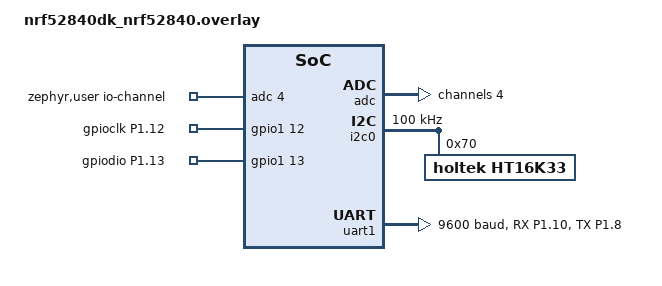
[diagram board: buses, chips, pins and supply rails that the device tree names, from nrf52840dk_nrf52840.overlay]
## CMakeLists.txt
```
cmake_minimum_required(VERSION 3.20.0)
find_package(Zephyr REQUIRED HINTS $ENV{ZEPHYR_BASE})

project(CO2_Watchdog)

FILE(GLOB app_sources src/*.c)
target_sources(app PRIVATE ${app_sources})

zephyr_library_include_directories(.)
```

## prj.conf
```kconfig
CONFIG_LOG=y
CONFIG_I2C=y
CONFIG_LED=y
CONFIG_KSCAN_INIT_PRIORITY=95
CONFIG_UART_INTERRUPT_DRIVEN=y
CONFIG_UART_ASYNC_API=y
CONFIG_KSCAN=y
CONFIG_HT16K33_KEYSCAN=y
CONFIG_NCS_SAMPLES_DEFAULTS=y
CONFIG_BT=y
CONFIG_BT_PERIPHERAL=y
CONFIG_BT_DEVICE_NAME="CO2_Watchdog"
CONFIG_BT_LBS=y
CONFIG_BT_LBS_POLL_BUTTON=y
CONFIG_DK_LIBRARY=y
CONFIG_BT_GATT_DYNAMIC_DB=y
CONFIG_PRINTK=y
CONFIG_ADC=y
CONFIG_ADC_ASYNC=y
CONFIG_ADC_NRFX_SAADC=y
```

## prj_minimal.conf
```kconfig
# BEGIN Configurations from basic/minimal

CONFIG_NCS_SAMPLES_DEFAULTS=y

CONFIG_BT=y
CONFIG_BT_PERIPHERAL=y
CONFIG_BT_DEVICE_NAME="CO2_Watchdog"

# Enable the LBS service
CONFIG_BT_LBS=y
CONFIG_BT_LBS_POLL_BUTTON=y
CONFIG_DK_LIBRARY=y

# Drivers and peripherals
CONFIG_I2C=n
CONFIG_WATCHDOG=n
CONFIG_GPIO=n
CONFIG_SPI=n
CONFIG_SERIAL=n

# Power management

# Interrupts
CONFIG_DYNAMIC_INTERRUPTS=n
CONFIG_IRQ_OFFLOAD=n

# Memory protection
CONFIG_THREAD_STACK_INFO=n
CONFIG_THREAD_CUSTOM_DATA=n
CONFIG_FPU=n

# Boot
CONFIG_BOOT_BANNER=n
CONFIG_BOOT_DELAY=0

# Console
CONFIG_CONSOLE=n
CONFIG_UART_CONSOLE=n
CONFIG_STDOUT_CONSOLE=n
CONFIG_PRINTK=n
CONFIG_EARLY_CONSOLE=n

# Build
CONFIG_SIZE_OPTIMIZATIONS=y

# ARM
CONFIG_ARM_MPU=n
# END Configurations from basic/minimal

# In order to correctly tune the stack sizes for the threads the following
# Configurations can enabled to print the current use:
# CONFIG_THREAD_NAME=y
# CONFIG_THREAD_ANALYZER=y
# CONFIG_THREAD_ANALYZER_AUTO=y
# CONFIG_THREAD_ANALYZER_RUN_UNLOCKED=y
# CONFIG_THREAD_ANALYZER_USE_PRINTK=y
# CONFIG_CONSOLE=y
# CONFIG_UART_CONSOLE=y
# CONFIG_SERIAL=y
# CONFIG_PRINTK=y

# Example output of thread analyzer
# SDC RX              : unused 816 usage 208 / 1024 (20 %)
# BT RX               : unused 1784 usage 416 / 2200 (18 %)
# BT TX               : unused 992 usage 544 / 1536 (35 %)
# thread_analyzer     : unused 136 usage 376 / 512 (73 %)
# sysworkq            : unused 1824 usage 224 / 2048 (10 %)
# MPSL signal         : unused 520 usage 504 / 1024 (49 %)
# idle 00             : unused 192 usage 64 / 256 (25 %)
# main                : unused 136 usage 888 / 1024 (86 %)
# Configurations set based on thread analyzer output.
CONFIG_BT_RX_STACK_SIZE=1024
CONFIG_BT_HCI_TX_STACK_SIZE_WITH_PROMPT=y
CONFIG_BT_HCI_TX_STACK_SIZE=640
CONFIG_SYSTEM_WORKQUEUE_STACK_SIZE=512
CONFIG_MPSL_WORK_STACK_SIZE=640
CONFIG_MAIN_STACK_SIZE=1024
CONFIG_IDLE_STACK_SIZE=128
CONFIG_ISR_STACK_SIZE=1024

# Disable features not needed
CONFIG_TIMESLICING=n
CONFIG_MINIMAL_LIBC_MALLOC=n
CONFIG_LOG=n
CONFIG_ASSERT=n

# Disable Bluetooth features not needed
CONFIG_BT_DEBUG_NONE=y
CONFIG_BT_ASSERT=n
CONFIG_BT_DATA_LEN_UPDATE=n
CONFIG_BT_PHY_UPDATE=n
CONFIG_BT_GATT_CACHING=n
CONFIG_BT_GATT_SERVICE_CHANGED=n
CONFIG_BT_GAP_PERIPHERAL_PREF_PARAMS=n
CONFIG_BT_SETTINGS_CCC_LAZY_LOADING=y
CONFIG_BT_HCI_VS_EXT=n

# Disable Bluetooth controller features not needed
CONFIG_BT_CTLR_PRIVACY=n
CONFIG_BT_CTLR_PHY_2M=n

# Reduce Bluetooth buffers
CONFIG_BT_BUF_EVT_DISCARDABLE_COUNT=1
CONFIG_BT_BUF_EVT_DISCARDABLE_SIZE=43
CONFIG_BT_BUF_EVT_RX_COUNT=2

CONFIG_BT_CONN_TX_MAX=2
CONFIG_BT_L2CAP_TX_BUF_COUNT=2
CONFIG_BT_CTLR_RX_BUFFERS=1
CONFIG_BT_BUF_ACL_TX_COUNT=3
CONFIG_BT_BUF_ACL_TX_SIZE=27
```

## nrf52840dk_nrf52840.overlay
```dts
// To get started, press Ctrl+Space to bring up the completion menu and view the available nodes.

// You can also use the buttons in the sidebar to perform actions on nodes.
// Actions currently available include:

// * Enabling / disabling the node
// * Adding the bus to a bus
// * Removing the node
// * Connecting ADC channels

// For more help, browse the DeviceTree documentation at https://docs.zephyrproject.org/latest/guides/dts/index.html
// You can also visit the nRF DeviceTree extension documentation at https://nrfconnect.github.io/vscode-nrf-connect/devicetree/nrfdevicetree.html

/ {
	zephyr,user {
        io-channels = <&adc 4>;
	};
};

&adc {
	#address-cells = <1>;
	#size-cells = <0>;

	channel@4 {
		reg = <4>;
		zephyr,gain = "ADC_GAIN_1";
		zephyr,reference = "ADC_REF_INTERNAL";
		zephyr,acquisition-time = <ADC_ACQ_TIME_DEFAULT>;
		zephyr,input-positive = <NRF_SAADC_AIN4>; /* P0.28 */
		zephyr,resolution = <10>;
	};
};

&i2c0 {
	clock-frequency = <I2C_BITRATE_STANDARD>;

	ht16k33@70 {
		compatible = "holtek,ht16k33";
		reg = <0x70>;
                /* Uncomment to use IRQ instead of polling: */
		/* irq-gpios = <&gpio1 8 (GPIO_PULL_UP | GPIO_ACTIVE_LOW)>; */

		keyscan {
			compatible = "holtek,ht16k33-keyscan";
		};
	};
};

/ {
    aliases {
        myserial = &uart1;
    };
};

&uart1 {
    status = "okay";
    compatible = "nordic,nrf-uart";
	current-speed = <9600>;
	pinctrl-0 = <&uart1_default>;
	pinctrl-1 = <&uart1_sleep>;
	pinctrl-names = "default", "sleep";
};

&pinctrl {
	uart1_default: uart1_default {
		group1 {
			psels = <NRF_PSEL(UART_RX, 1, 10)>;
			bias-pull-up;
		};
		group2 {
               psels = <NRF_PSEL(UART_TX, 1, 8)>;
		};
	};

	uart1_sleep: uart1_sleep {
		group1 {
			psels = <NRF_PSEL(UART_RX, 1, 10)>,
				<NRF_PSEL(UART_TX, 1, 8)>;
			low-power-enable;
		};
	};
};

/ {
	aliases{
		gpio-clk = &gpioclk;
		gpio-dio = &gpiodio;
	};

	gpiocustom{
		status = "okay";
		compatible = "gpio-keys";

		gpioclk: gpioclk{
			gpios = <&gpio1 12 GPIO_ACTIVE_HIGH>;
			label = "gpioclk P1.12";
		};

		gpiodio: gpiodio{
			gpios = <&gpio1 13 GPIO_ACTIVE_HIGH>;
			label = "gpiodio P1.13";
		};
	};
};

&spi3 {
	status = "disabled";
};
```

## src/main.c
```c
#include <zephyr/device.h>
#include <zephyr/devicetree.h>
#include <zephyr/drivers/adc.h>
#include <zephyr/kernel.h>
#include <zephyr/sys/printk.h>
#include <zephyr/sys/util.h>
#include <zephyr/drivers/uart.h>
#include <zephyr/drivers/led.h>
#include <zephyr/logging/log.h>
#include <zephyr/drivers/gpio.h>
#include <zephyr/bluetooth/bluetooth.h>
#include <zephyr/bluetooth/hci.h>
#include <zephyr/bluetooth/conn.h>
#include <zephyr/bluetooth/uuid.h>
#include <zephyr/bluetooth/gatt.h>
#include <zephyr/settings/settings.h>
#include <dk_buttons_and_leds.h>

#include "batterydisplay.h"
#include "value.h"

LOG_MODULE_REGISTER(co2_watchdog);

#define RECEIVE_TIMEOUT 1000
#define MSG_SIZE 9
#define CO2_MULTIPLIER 256
#define CO2_SEGMENTS 8
#define MATRIX_COLUMNS 16

#define MAX_SENSORVALUE 1000
#define MIN_SENSORVALUE 8
#define SENSOR_INVALID_VALUE 65500

#define DT_SPEC_AND_COMMA(node_id, prop, idx) \
    ADC_DT_SPEC_GET_BY_IDX(node_id, idx),

#define BUTTON_NODE DT_ALIAS(sw0)
#if !DT_NODE_HAS_STATUS(BUTTON_NODE, okay)
#error "Unsupported board: sw0 devicetree alias is not defined"
#endif

static const struct gpio_dt_spec button = GPIO_DT_SPEC_GET_OR(BUTTON_NODE, gpios, {0});
static const struct adc_dt_spec adc_channel = ADC_DT_SPEC_GET_BY_IDX(DT_PATH(zephyr_user), 0);

K_MSGQ_DEFINE(co2_segment_msgq, sizeof(int), MATRIX_COLUMNS, 4);
K_MSGQ_DEFINE(sound_segment_msgq, sizeof(int), MATRIX_COLUMNS, 4);

#define LED_NODE DT_COMPAT_GET_ANY_STATUS_OKAY(holtek_ht16k33)
#define UART_NODE DT_ALIAS(myserial)

static int sound_segments[MATRIX_COLUMNS] = {0};
static const struct device *const uart_serial = DEVICE_DT_GET(UART_NODE);
static const struct device *const led = DEVICE_DT_GET(LED_NODE);

static char rx_buf[MSG_SIZE];
static int rx_buf_pos;

static volatile bool co2_data_ready = false;
static volatile bool init_ready = false;
static int co2_segment = 0;
static uint16_t co2_value = 0;
static struct bt_conn *current_conn = NULL;

enum uart_fsm_code {
    UART_FSM_IDLE,
    UART_FSM_HEADER,
    UART_FSM_DATA,
    UART_FSM_CHECKSUM,
    UART_FSM_END,
};

static uint8_t uart_fsm = UART_FSM_IDLE;

uint8_t check_usart_fsm(uint8_t read_data) {
    switch (uart_fsm) {
        case UART_FSM_IDLE:
            if (read_data == 0xFF) {
                uart_fsm = UART_FSM_HEADER;
            }
            break;
        case UART_FSM_HEADER:
            if (read_data == 0x86) {
                uart_fsm = UART_FSM_DATA;
            } else {
                uart_fsm = UART_FSM_IDLE;
            }
            break;
        case UART_FSM_DATA:
            if (rx_buf_pos == MSG_SIZE - 2) {
                uart_fsm = UART_FSM_CHECKSUM;
            }
            break;
        case UART_FSM_CHECKSUM:
            if (rx_buf_pos == MSG_SIZE - 1) {
                uart_fsm = UART_FSM_END;
            }
            break;
        case UART_FSM_END:
            uart_fsm = UART_FSM_IDLE;
            break;
        default:
            uart_fsm = UART_FSM_IDLE;
            break;
    }
    return uart_fsm;
}

unsigned char getCheckSum(unsigned char *packet) {
    unsigned char i, checksum = 0;
    for (i = 1; i < 8; i++) {
        checksum += packet[i];
    }
    checksum = 0xff - checksum;
    checksum += 1;
    return checksum;
}

uint8_t fromHexadecimalToDecimal(uint8_t hexadecimalValue) {
    uint8_t decimalValue = 0;
    decimalValue += hexadecimalValue / 10 * 16;
    decimalValue += hexadecimalValue % 10;
    return decimalValue;
}

long map(long x, long in_min, long in_max, long out_min, long out_max)
{
    return (x - in_min) * (out_max - out_min) / (in_max - in_min) + out_min;
}

void serial_callback(const struct device *dev, void *user_data) {
    uint8_t c, high, low;
    char checksum_ok, value_calc_flag;
    int checksum;

    if (!uart_irq_update(uart_serial)) {
        return;
    }

    if (!uart_irq_rx_ready(uart_serial)) {
        LOG_INF("UART RX not ready");
        return;
    }

    while (uart_fifo_read(uart_serial, &c, 1) == 1) {
        
        if (uart_fsm == UART_FSM_IDLE) {
            rx_buf_pos = 0;
        }
        check_usart_fsm(c);

        if (rx_buf_pos >= MSG_SIZE) {
            rx_buf_pos = 0;
        }
        rx_buf[rx_buf_pos++] = c;
    }

    checksum = getCheckSum((unsigned char *)rx_buf);
    checksum_ok = checksum == rx_buf[8];
    if (checksum_ok) {
        LOG_INF("Checksum OK (%d == %d, index=%d)", checksum, rx_buf[8], rx_buf_pos);
    } else {
        LOG_ERR("Checksum failed (%d == %d, index=%d)", checksum, rx_buf[8], rx_buf_pos);
    }

    value_calc_flag = rx_buf_pos == MSG_SIZE && checksum_ok;
    if (value_calc_flag) {
        high = rx_buf[2];
        high = fromHexadecimalToDecimal(high);
        low = rx_buf[3];
        low = fromHexadecimalToDecimal(low);
        int ppm = (high * CO2_MULTIPLIER) + low;
        co2_value = ppm;
        printk("CO2: %d ppm (high = %d, low = %d)\n", ppm, high, low);
        for (int i = 0; i < MSG_SIZE; i += 1) {
            printk("%x ", rx_buf[i]);
        }
        printk("\n");

        if (ppm < 375) co2_segment = 1;
        else if (ppm < 750) co2_segment = 2;
        else if (ppm < 1125) co2_segment = 3;
        else if (ppm < 1500) co2_segment = 4;
        else if (ppm < 1875) co2_segment = 5;
        else if (ppm < 2250) co2_segment = 6;
        else if (ppm < 2625) co2_segment = 7;
        else if (ppm < 3000) co2_segment = 8;

        co2_data_ready = true;
    }
}

void serial_write() {
    uint8_t tx_buf[MSG_SIZE] = {0xFF, 0x01, 0x86, 0x00, 0x00, 0x00, 0x00, 0x00, 0x79};
    for (int i = 0; i < MSG_SIZE; i += 1) {
        uart_poll_out(uart_serial, tx_buf[i]);
    }
}

void update_led_matrix(void) {
    if (!device_is_ready(led)) {
        printk("LED matrix device not ready\n");
        return;
    }

    for (int col = 0; col < MATRIX_COLUMNS; col++) {
        for (int row = 0; row < CO2_SEGMENTS; row++) {
            led_off(led, row * 16 + col);
        }
    }

    int start_col = MATRIX_COLUMNS - k_msgq_num_used_get(&sound_segment_msgq);
    for (int col = start_col; col < MATRIX_COLUMNS; col++) {
        for (int row = 0; row < sound_segments[col - start_col]; row++) {
            led_on(led, (CO2_SEGMENTS - 1 - row) * 16 + col);
        }
    }
}

void add_sound_segment(int segment) {
    if (k_msgq_put(&sound_segment_msgq, &segment, K_NO_WAIT) != 0) {
        int old_segment;
        k_msgq_get(&sound_segment_msgq, &old_segment, K_NO_WAIT);
        k_msgq_put(&sound_segment_msgq, &segment, K_NO_WAIT);
    }

    memset(sound_segments, 0, sizeof(sound_segments));
    int count = k_msgq_num_used_get(&sound_segment_msgq);
    for (int i = 0; i < count; i++) {
        k_msgq_get(&sound_segment_msgq, &sound_segments[MATRIX_COLUMNS - count + i], K_NO_WAIT);
        k_msgq_put(&sound_segment_msgq, &sound_segments[MATRIX_COLUMNS - count + i], K_NO_WAIT);
    }

    update_led_matrix();
}

void battery_disp()
{
    if (init_ready) {
        printk("Initializing battery display to 0\n");
        display_level(0);
        init_ready = false;
    }
    
    printk("CO2 scale: %d\n", co2_segment);

    if (co2_segment >= 7) {
        display_level(1);
    } else if (co2_segment >= 6 && co2_segment < 7) {
        display_level(2);
    } else if (co2_segment >= 5 && co2_segment < 6) {
        display_level(3);
    } else if (co2_segment >= 4 && co2_segment < 5) {
        display_level(4);
    } else if (co2_segment >= 3 && co2_segment < 4) {
        display_level(5);
    } else if (co2_segment >= 2 && co2_segment < 3) {
        display_level(6);
    } else if (co2_segment >= 1 && co2_segment < 2) {
        display_level(7);
    } else {
        display_level(7);
    }
}

#define DEVICE_NAME             CONFIG_BT_DEVICE_NAME
#define DEVICE_NAME_LEN         (sizeof(DEVICE_NAME) - 1)
#define RUN_STATUS_LED          DK_LED1
#define CON_STATUS_LED          DK_LED2
#define RUN_LED_BLINK_INTERVAL  1000
#define USER_LED                DK_LED3
#define USER_BUTTON             DK_BTN1_MSK

static bool app_button_state;

static const struct bt_data ad[] = {
    BT_DATA_BYTES(BT_DATA_FLAGS, (BT_LE_AD_GENERAL | BT_LE_AD_NO_BREDR)),
    BT_DATA(BT_DATA_NAME_COMPLETE, DEVICE_NAME, DEVICE_NAME_LEN),
};

static struct bt_uuid_128 co2_service_uuid = BT_UUID_INIT_128(
    BT_UUID_128_ENCODE(0x12345678, 0x1234, 0x5678, 0x1234, 0x567812345678));
static struct bt_uuid_128 co2_char_uuid = BT_UUID_INIT_128(
    BT_UUID_128_ENCODE(0x87654321, 0x4321, 0x8765, 0x4321, 0x876543218765));

static const char co2_char_desc[] = "CO2 Monitoring";

static void co2_ccc_cfg_changed(const struct bt_gatt_attr *attr, uint16_t value)
{
    bool notif_enabled = (value == BT_GATT_CCC_NOTIFY);

    printk("Notifications %s\n", notif_enabled ? "enabled" : "disabled");
}

BT_GATT_SERVICE_DEFINE(co2_svc,
    BT_GATT_PRIMARY_SERVICE(&co2_service_uuid),
    BT_GATT_CHARACTERISTIC(&co2_char_uuid.uuid,
                           BT_GATT_CHRC_NOTIFY,
                           BT_GATT_PERM_READ,
                           NULL, NULL, NULL),
    BT_GATT_CCC(co2_ccc_cfg_changed,
                BT_GATT_PERM_READ | BT_GATT_PERM_WRITE),
    BT_GATT_DESCRIPTOR(BT_UUID_GATT_CUD, BT_GATT_PERM_READ, NULL, NULL, (void *)co2_char_desc)
);

static void connected(struct bt_conn *conn, uint8_t err)
{
    if (err) {
        printk("Bluetooth connection failed (err %u)\n", err);
        return;
    }

    printk("Connected\n");
    current_conn = bt_conn_ref(conn);
    dk_set_led_on(CON_STATUS_LED);
}

static void disconnected(struct bt_conn *conn, uint8_t reason)
{
    printk("Disconnect Bluetooth (Reason: %u)\n", reason);
    if (current_conn) {
        bt_conn_unref(current_conn);
        current_conn = NULL;
    }
    dk_set_led_off(CON_STATUS_LED);
}

BT_CONN_CB_DEFINE(conn_callbacks) = {
    .connected        = connected,
    .disconnected     = disconnected,
};

void button_pressed(const struct device *dev, struct gpio_callback *cb, uint32_t pins)
{
    printk("Initializing system...\n");

    memset(sound_segments, 0, sizeof(sound_segments));
    update_led_matrix();
    co2_data_ready = false;
    battery_disp();
    co2_segment = 0;
    co2_value = 0;

    if (current_conn) {
        bt_conn_unref(current_conn);
        current_conn = NULL;
    }
    dk_set_led_off(CON_STATUS_LED);
    printk("System was initialized.\n");
}

static struct gpio_callback button_cb_data;

static int init_button(void)
{
    int ret;

    if (!device_is_ready(button.port)) {
        printk("Error: button device %s is not ready\n", button.port->name);
        return -ENODEV;
    }

    ret = gpio_pin_configure_dt(&button, GPIO_INPUT);
    if (ret != 0) {
        printk("Error %d: failed to configure %s pin %d\n",
               ret, button.port->name, button.pin);
        return ret;
    }

    ret = gpio_pin_interrupt_configure_dt(&button, GPIO_INT_EDGE_TO_ACTIVE);
    if (ret != 0) {
        printk("Error %d: failed to configure interrupt on %s pin %d\n",
               ret, button.port->name, button.pin);
        return ret;
    }

    gpio_init_callback(&button_cb_data, button_pressed, BIT(button.pin));
    gpio_add_callback(button.port, &button_cb_data);
    printk("Setting button %s pin %d\n", button.port->name, button.pin);

    return 0;
}

void bluetooth_init(void)
{
    int err;

    err = dk_leds_init();
    if (err) {
        printk("LEDs init failed (err %d)\n", err);
        return;
    }

    err = bt_enable(NULL);
    if (err) {
        printk("Bluetooth init failed (err %d)\n", err);
        return;
    }

    printk("Bluetooth initialized\n");

    if (IS_ENABLED(CONFIG_SETTINGS)) {
        settings_load();
    }

    err = bt_le_adv_start(BT_LE_ADV_CONN, ad, ARRAY_SIZE(ad), NULL, 0);
    if (err) {
        printk("Advertising failed to start (err %d)\n", err);
        return;
    }

    printk("Advertising successfully started\n");
}

void co2_thread(void) {
    while (1) {
        k_sleep(K_MSEC(3000));
        serial_write();
        
        if (co2_data_ready) {
            if (current_conn) {
                int rc = bt_gatt_notify(current_conn, &co2_svc.attrs[1], &co2_value, sizeof(co2_value));
                if (rc < 0) {
                    printk("notifying error: %d\n", rc);
                }
            }
            battery_disp(co2_segment);
            co2_data_ready = false;
        }
    }
}

void sound_thread(void) {
    int err;
    uint32_t sound_value;
    uint16_t buf;

    struct adc_sequence sequence = {
        .buffer = &buf,
        .buffer_size = sizeof(buf),
        .channels = BIT(adc_channel.channel_id),
        .resolution = adc_channel.resolution,
    };

    while (1) {
        k_sleep(K_MSEC(300));
        err = adc_read(adc_channel.dev, &sequence);
        if (err < 0) {
            printk("read error (%d)\n", err);
            continue;
        }

        sound_value = (int32_t)buf;
        if (sound_value >= SENSOR_INVALID_VALUE) {
            printk("sound_value: invalid data %" PRIu32 "\n", sound_value);
            continue;
        }
        int sound_level = map(sound_value, 0, MAX_SENSORVALUE, 0, MIN_SENSORVALUE);
        printk("sound_value: %" PRIu32 " sound_level: %d\n", sound_value, sound_level);

        add_sound_segment(sound_level);
    }
}

K_THREAD_DEFINE(co2_thread_id, 1024, co2_thread, NULL, NULL, NULL, 7, 0, 0);
K_THREAD_DEFINE(sound_thread_id, 1024, sound_thread, NULL, NULL, NULL, 7, 0, 0);

int main(void) {
    if (!adc_is_ready_dt(&adc_channel)) {
        LOG_ERR("ADC controller device %s not ready", adc_channel.dev->name);
        return 0;
    }

    int err = adc_channel_setup_dt(&adc_channel);
    if (err < 0) {
        LOG_ERR("Could not setup channel (%d)", err);
        return 0;
    }

    if (!device_is_ready(uart_serial)) {
        LOG_ERR("UART device not found!");
        return 0;
    }

    if (!device_is_ready(led)) {
        LOG_ERR("LED device not ready!");
        return 0;
    }

    int ret = uart_irq_callback_user_data_set(uart_serial, serial_callback, NULL);

    if (ret < 0) {
        if (ret == -ENOTSUP) {
            LOG_ERR("Interrupt-driven UART API support not enabled");
        } else if (ret == -ENOSYS) {
            LOG_ERR("UART device does not support interrupt-driven API");
        } else {
            LOG_ERR("Error setting UART callback: %d", ret);
        }
        return 0;
    }
    uart_irq_rx_enable(uart_serial);

    LOG_INF("Initializing Bluetooth...");
    bluetooth_init();
    LOG_INF("Initializing Button1...");
    init_button();

    return 0;
}
```

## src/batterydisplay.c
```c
#include "batterydisplay.h"
#include "value.h"

static int8_t leveltab[8] = {0x00,0x40,0x60,0x70,0x78,0x7c,0x7e,0x7f};//Level 0~7
static uint8_t cmd_dispctrl = DISPLAY_BRIGHTEST + BRIGHTNESS_LEVEL1;
static int setlevel = 0;

// Function to initialize the battery display
int batterydisplay_intit(void)
{
    if (!gpio_is_ready_dt(&clk)) {
		printk("clk GPIO is not ready\n");
		return DK_ERR;
	}

	if(!gpio_is_ready_dt(&dio)) {
		printk("dio GPIO is not ready\n");
		return DK_ERR;
	}

    printk("batterydisplay_init success\n");

    return DK_OK;
}

void set_brightness(int brightness)
{
    cmd_dispctrl = DISPLAY_BRIGHTEST + brightness;
}

void set_level(int level)
{
    setlevel = level;
}

void write_byte(int8_t wr_data)
{
    uint8_t data = wr_data;

    for(uint8_t i = 0; i < 8; i++){
        gpio_pin_configure_dt(&clk, GPIO_OUTPUT);
        bit_delay();

        if(data & 0x01)
            gpio_pin_configure_dt(&dio, GPIO_INPUT);
        else
            gpio_pin_configure_dt(&dio, GPIO_OUTPUT);

        bit_delay();

        gpio_pin_configure_dt(&clk, GPIO_INPUT);
        bit_delay();

        data >>= 1;
    }

    gpio_pin_configure_dt(&clk, GPIO_OUTPUT);
    gpio_pin_configure_dt(&dio, GPIO_INPUT);
    bit_delay();

    gpio_pin_configure_dt(&clk, GPIO_INPUT);
    bit_delay();
    uint8_t ack = gpio_pin_get_dt(&dio);
    if(ack == 0){
        gpio_pin_configure_dt(&dio, GPIO_OUTPUT);
    }

    bit_delay();
    gpio_pin_configure_dt(&clk, GPIO_OUTPUT);
    bit_delay();
}

void start(void)
{
    gpio_pin_configure_dt(&dio, GPIO_OUTPUT);
    bit_delay();
}

void stop(void)
{
    gpio_pin_configure_dt(&dio, GPIO_OUTPUT);
    bit_delay();

    gpio_pin_configure_dt(&clk, GPIO_INPUT);
    bit_delay();

    gpio_pin_configure_dt(&dio, GPIO_INPUT);
    bit_delay();
}

int display_level(uint8_t level)
{
    if(level > 7){
        printk("Invalid level\n");
        return DK_ERR;
    }

    if( setlevel == level){
        // printk("Same level\n");
        return DK_OK;
    }

    set_level(level);
    printk("display_level: %d\n", level);

    start();
    write_byte(ADDR_FIXED);
    stop();

    start();
    write_byte(ADDR_CMD_00H);
    write_byte(leveltab[level]);
    stop();

    start();
    write_byte(cmd_dispctrl);
    stop();

    printk("display_level success\n");

    return DK_OK;
}

void display_frame(bool framgeflag)
{
    int8_t segdata;
    if(framgeflag == FRAME_ON)
        segdata = 0x40;
    else
        segdata = 0x00;

    start();
    write_byte(ADDR_AUTO);
    stop();

    start();
    write_byte(ADDR_CMD_01H);
    for(uint8_t i = 0; i < 3; i++){
        write_byte(segdata);
    }
    stop();

    start();
    write_byte(cmd_dispctrl);
    stop();
}

void display_clear(void)
{
    display_level(0);
    display_frame(FRAME_OFF);
}

void bit_delay(void)
{
    k_sleep(K_TICKS(1));
}
```
